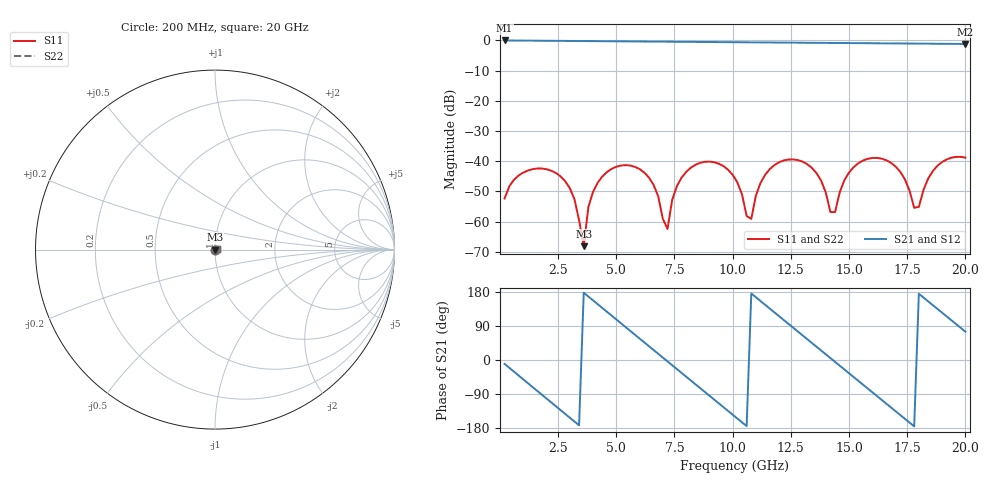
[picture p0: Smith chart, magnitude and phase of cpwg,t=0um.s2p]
! Created Fri Jun  3 09:20:15 2022
# hz S ma R 50
! 2 Port Network Data from SP1.SP block
! freq  magS11  angS11  magS21  angS21  magS12  angS12  magS22  angS22
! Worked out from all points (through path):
!   100 points, 200 MHz to 20 GHz, reference 50 ohm
!   highest |S21| = -0.01 dB at 200 MHz (marker M1); lowest = -1.2 dB at 20 GHz (marker M2)
!   group delay of S21, straight-line fit = 139 ps
!   lowest |S11| = -68.2 dB at 3.6 GHz (marker M3), VSWR 1.00, Z = 50 + j0.0302 ohm
!   |S11| at or under -10 dB: start of sweep to end of sweep
!   |S22| runs from -68.2 to -38.6 dB; largest |S21 - S12| = 0
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2e8  0.002412 -134.1  0.9986 -10.3  0.9986 -10.3  0.002412 -134.1
1.4e9  0.007355 123.2  0.9906 -71.3  0.9906 -71.3  0.007355 123.2
2.4e9  0.006388 54.0  0.9839 -121.9  0.9839 -121.9  0.006388 54.0
3.2e9  0.002358 6.7  0.9786 -162.3  0.9786 -162.3  0.002358 6.7
3.6e9  0.0003907 129.3  0.976 177.5  0.976 177.5  0.0003907 129.3
4e9  0.003103 131.5  0.9733 157.4  0.9733 157.4  0.003103 131.5
4.8e9  0.007458 88.5  0.9681 117.0  0.9681 117.0  0.007458 88.5
5.8e9  0.00806 34.9  0.9615 66.7  0.9615 66.7  0.00806 34.9
6.8e9  0.002614 -11.4  0.955 16.4  0.955 16.4  0.002614 -11.4
7.2e9  0.0007522 101.4  0.9524 -3.7  0.9524 -3.7  0.0007522 101.4
7.6e9  0.003832 110.4  0.9499 -23.8  0.9499 -23.8  0.003832 110.4
8.6e9  0.009367 63.2  0.9435 -74.1  0.9435 -74.1  0.009367 63.2
1.02e10  0.004449 -11.3  0.9333 -154.4  0.9333 -154.4  0.004449 -11.3
1.08e10  0.001104 86.5  0.9295 175.5  0.9295 175.5  0.001104 86.5
1.18e10  0.008632 74.5  0.9233 125.4  0.9233 125.4  0.008632 74.5
1.34e10  0.007757 0.6  0.9133 45.2  0.9133 45.2  0.007757 0.6
1.44e10  0.001436 76.1  0.9072 -4.9  0.9072 -4.9  0.001436 76.1
1.52e10  0.007975 77.6  0.9024 -45.0  0.9024 -45.0  0.007975 77.6
1.68e10  0.009402 6.5  0.8927 -125.1  0.8927 -125.1  0.009402 6.5
1.78e10  0.001692 6.0  0.8867 -175.2  0.8867 -175.2  0.001692 6.0
1.88e10  0.008385 73.3  0.8808 134.8  0.8808 134.8  0.008385 73.3
2e10  0.01145 21.7  0.8737 74.8  0.8737 74.8  0.01145 21.7
